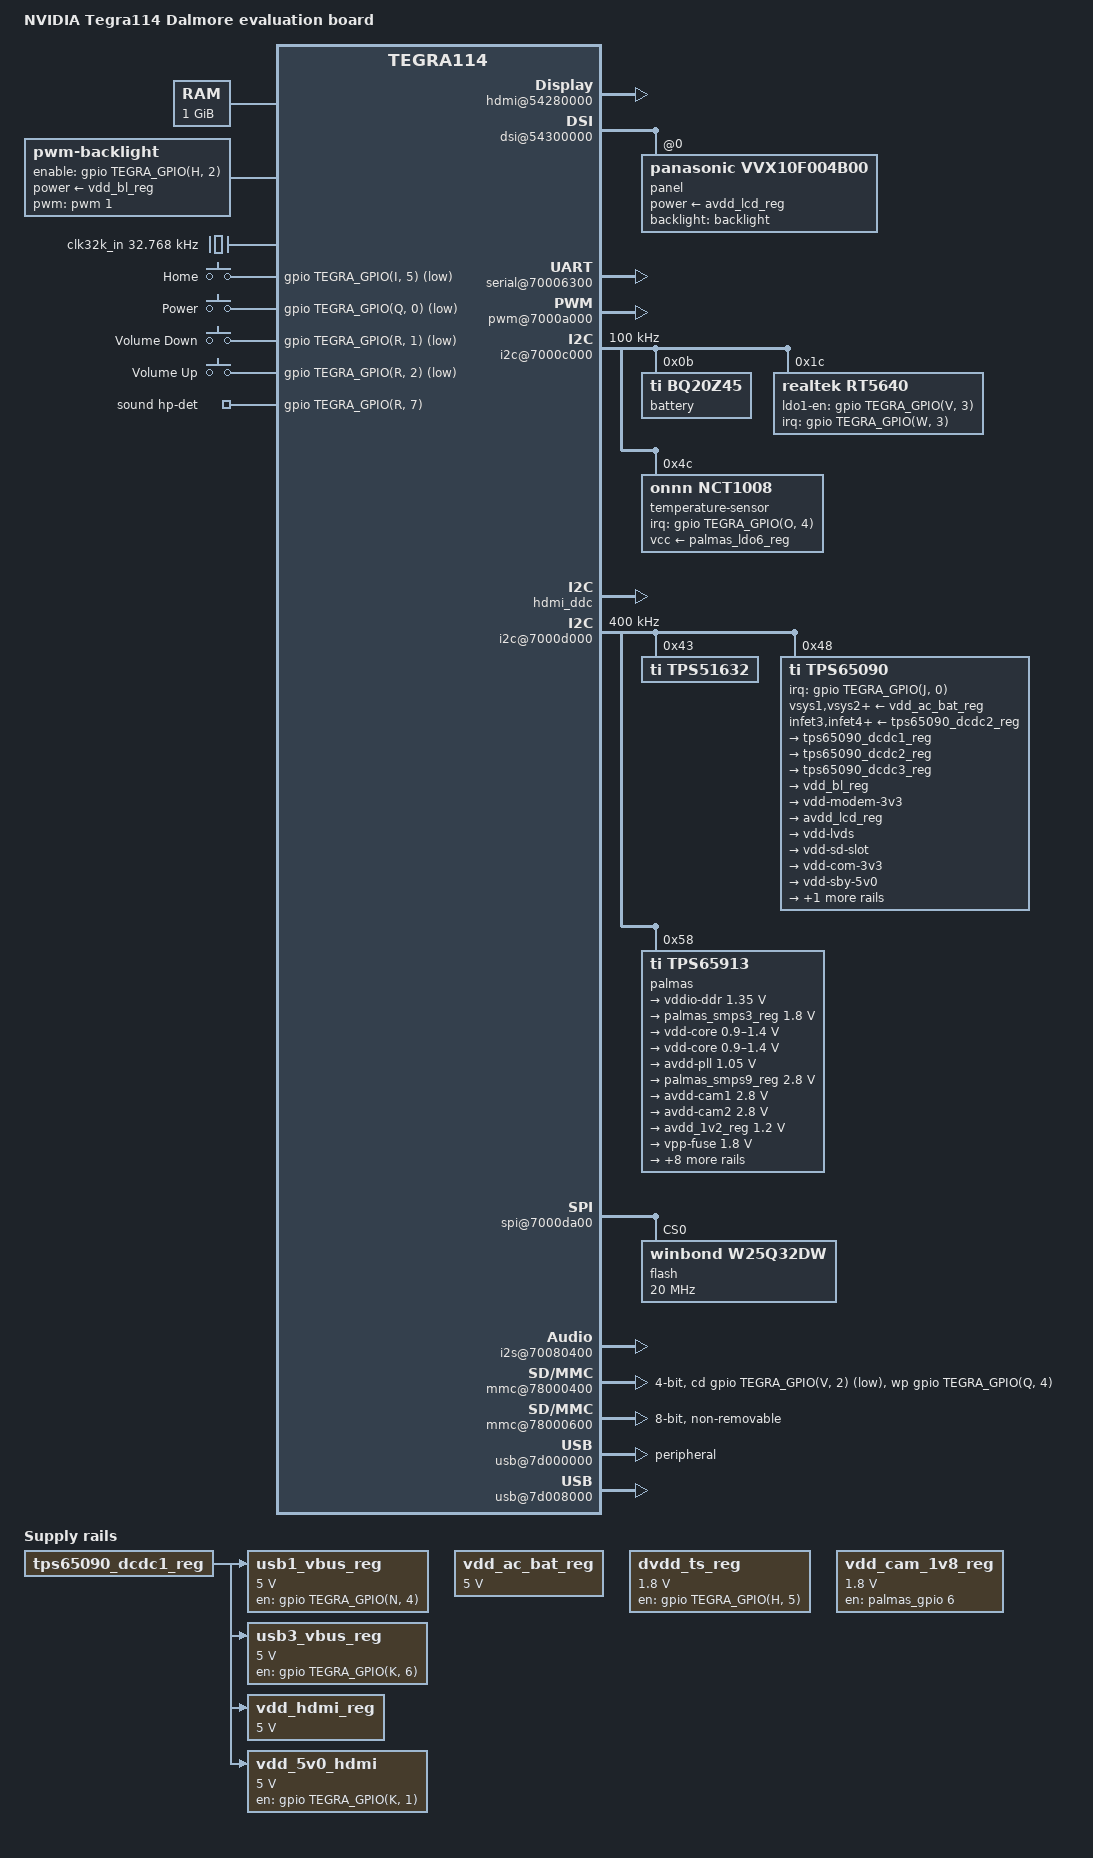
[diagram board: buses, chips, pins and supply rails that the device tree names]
// SPDX-License-Identifier: GPL-2.0
/*
 * This dts file supports Dalmore A04.
 * Other board revisions are not supported
 */

/dts-v1/;

#include <dt-bindings/input/input.h>
#include "tegra114.dtsi"

/ {
	model = "NVIDIA Tegra114 Dalmore evaluation board";
	compatible = "nvidia,dalmore", "nvidia,tegra114";

	aliases {
		rtc0 = "/i2c@7000d000/tps65913@58";
		rtc1 = "/rtc@7000e000";
		serial0 = &uartd;
	};

	chosen {
		stdout-path = "serial0:115200n8";
	};

	memory@80000000 {
		reg = <0x80000000 0x40000000>;
	};

	host1x@50000000 {
		hdmi@54280000 {
			status = "okay";

			hdmi-supply = <&vdd_5v0_hdmi>;
			vdd-supply = <&vdd_hdmi_reg>;
			pll-supply = <&palmas_smps3_reg>;

			nvidia,ddc-i2c-bus = <&hdmi_ddc>;
			nvidia,hpd-gpio =
				<&gpio TEGRA_GPIO(N, 7) GPIO_ACTIVE_HIGH>;
		};

		dsi@54300000 {
			status = "okay";

			avdd-dsi-csi-supply = <&avdd_1v2_reg>;

			panel@0 {
				compatible = "panasonic,vvx10f004b00";
				reg = <0>;

				power-supply = <&avdd_lcd_reg>;
				backlight = <&backlight>;
			};
		};
	};

	pinmux@70000868 {
		pinctrl-names = "default";
		pinctrl-0 = <&state_default>;

		state_default: pinmux {
			clk1_out_pw4 {
				nvidia,pins = "clk1_out_pw4";
				nvidia,function = "extperiph1";
				nvidia,pull = <TEGRA_PIN_PULL_NONE>;
				nvidia,tristate = <TEGRA_PIN_DISABLE>;
				nvidia,enable-input = <TEGRA_PIN_DISABLE>;
			};
			dap1_din_pn1 {
				nvidia,pins = "dap1_din_pn1";
				nvidia,function = "i2s0";
				nvidia,pull = <TEGRA_PIN_PULL_NONE>;
				nvidia,tristate = <TEGRA_PIN_ENABLE>;
				nvidia,enable-input = <TEGRA_PIN_ENABLE>;
			};
			dap1_dout_pn2 {
				nvidia,pins = "dap1_dout_pn2",
						"dap1_fs_pn0",
						"dap1_sclk_pn3";
				nvidia,function = "i2s0";
				nvidia,pull = <TEGRA_PIN_PULL_NONE>;
				nvidia,tristate = <TEGRA_PIN_DISABLE>;
				nvidia,enable-input = <TEGRA_PIN_ENABLE>;
			};
			dap2_din_pa4 {
				nvidia,pins = "dap2_din_pa4";
				nvidia,function = "i2s1";
				nvidia,pull = <TEGRA_PIN_PULL_NONE>;
				nvidia,tristate = <TEGRA_PIN_ENABLE>;
				nvidia,enable-input = <TEGRA_PIN_ENABLE>;
			};
			dap2_dout_pa5 {
				nvidia,pins = "dap2_dout_pa5",
						"dap2_fs_pa2",
						"dap2_sclk_pa3";
				nvidia,function = "i2s1";
				nvidia,pull = <TEGRA_PIN_PULL_NONE>;
				nvidia,tristate = <TEGRA_PIN_DISABLE>;
				nvidia,enable-input = <TEGRA_PIN_ENABLE>;
			};
			dap4_din_pp5 {
				nvidia,pins = "dap4_din_pp5",
						"dap4_dout_pp6",
						"dap4_fs_pp4",
						"dap4_sclk_pp7";
				nvidia,function = "i2s3";
				nvidia,pull = <TEGRA_PIN_PULL_NONE>;
				nvidia,tristate = <TEGRA_PIN_DISABLE>;
				nvidia,enable-input = <TEGRA_PIN_ENABLE>;
			};
			dvfs_pwm_px0 {
				nvidia,pins = "dvfs_pwm_px0",
						"dvfs_clk_px2";
				nvidia,function = "cldvfs";
				nvidia,pull = <TEGRA_PIN_PULL_NONE>;
				nvidia,tristate = <TEGRA_PIN_DISABLE>;
				nvidia,enable-input = <TEGRA_PIN_DISABLE>;
			};
			ulpi_clk_py0 {
				nvidia,pins = "ulpi_clk_py0",
						"ulpi_data0_po1",
						"ulpi_data1_po2",
						"ulpi_data2_po3",
						"ulpi_data3_po4",
						"ulpi_data4_po5",
						"ulpi_data5_po6",
						"ulpi_data6_po7",
						"ulpi_data7_po0";
				nvidia,function = "ulpi";
				nvidia,pull = <TEGRA_PIN_PULL_NONE>;
				nvidia,tristate = <TEGRA_PIN_DISABLE>;
				nvidia,enable-input = <TEGRA_PIN_ENABLE>;
			};
			ulpi_dir_py1 {
				nvidia,pins = "ulpi_dir_py1",
						"ulpi_nxt_py2";
				nvidia,function = "ulpi";
				nvidia,pull = <TEGRA_PIN_PULL_NONE>;
				nvidia,tristate = <TEGRA_PIN_ENABLE>;
				nvidia,enable-input = <TEGRA_PIN_ENABLE>;
			};
			ulpi_stp_py3 {
				nvidia,pins = "ulpi_stp_py3";
				nvidia,function = "ulpi";
				nvidia,pull = <TEGRA_PIN_PULL_NONE>;
				nvidia,tristate = <TEGRA_PIN_DISABLE>;
				nvidia,enable-input = <TEGRA_PIN_DISABLE>;
			};
			cam_i2c_scl_pbb1 {
				nvidia,pins = "cam_i2c_scl_pbb1",
						"cam_i2c_sda_pbb2";
				nvidia,function = "i2c3";
				nvidia,pull = <TEGRA_PIN_PULL_NONE>;
				nvidia,tristate = <TEGRA_PIN_DISABLE>;
				nvidia,enable-input = <TEGRA_PIN_ENABLE>;
				nvidia,lock = <TEGRA_PIN_DISABLE>;
				nvidia,open-drain = <TEGRA_PIN_DISABLE>;
			};
			cam_mclk_pcc0 {
				nvidia,pins = "cam_mclk_pcc0",
						"pbb0";
				nvidia,function = "vi_alt3";
				nvidia,pull = <TEGRA_PIN_PULL_NONE>;
				nvidia,tristate = <TEGRA_PIN_DISABLE>;
				nvidia,enable-input = <TEGRA_PIN_DISABLE>;
				nvidia,lock = <TEGRA_PIN_DISABLE>;
			};
			gen2_i2c_scl_pt5 {
				nvidia,pins = "gen2_i2c_scl_pt5",
						"gen2_i2c_sda_pt6";
				nvidia,function = "i2c2";
				nvidia,pull = <TEGRA_PIN_PULL_NONE>;
				nvidia,tristate = <TEGRA_PIN_DISABLE>;
				nvidia,enable-input = <TEGRA_PIN_ENABLE>;
				nvidia,lock = <TEGRA_PIN_DISABLE>;
				nvidia,open-drain = <TEGRA_PIN_DISABLE>;
			};
			gmi_a16_pj7 {
				nvidia,pins = "gmi_a16_pj7";
				nvidia,function = "uartd";
				nvidia,pull = <TEGRA_PIN_PULL_NONE>;
				nvidia,tristate = <TEGRA_PIN_DISABLE>;
				nvidia,enable-input = <TEGRA_PIN_DISABLE>;
			};
			gmi_a17_pb0 {
				nvidia,pins = "gmi_a17_pb0",
						"gmi_a18_pb1";
				nvidia,function = "uartd";
				nvidia,pull = <TEGRA_PIN_PULL_NONE>;
				nvidia,tristate = <TEGRA_PIN_ENABLE>;
				nvidia,enable-input = <TEGRA_PIN_ENABLE>;
			};
			gmi_a19_pk7 {
				nvidia,pins = "gmi_a19_pk7";
				nvidia,function = "uartd";
				nvidia,pull = <TEGRA_PIN_PULL_NONE>;
				nvidia,tristate = <TEGRA_PIN_DISABLE>;
				nvidia,enable-input = <TEGRA_PIN_DISABLE>;
			};
			gmi_ad5_pg5 {
				nvidia,pins = "gmi_ad5_pg5",
						"gmi_cs6_n_pi3",
						"gmi_wr_n_pi0";
				nvidia,function = "spi4";
				nvidia,pull = <TEGRA_PIN_PULL_NONE>;
				nvidia,tristate = <TEGRA_PIN_DISABLE>;
				nvidia,enable-input = <TEGRA_PIN_ENABLE>;
			};
			gmi_ad6_pg6 {
				nvidia,pins = "gmi_ad6_pg6",
						"gmi_ad7_pg7";
				nvidia,function = "spi4";
				nvidia,pull = <TEGRA_PIN_PULL_UP>;
				nvidia,tristate = <TEGRA_PIN_DISABLE>;
				nvidia,enable-input = <TEGRA_PIN_ENABLE>;
			};
			gmi_ad12_ph4 {
				nvidia,pins = "gmi_ad12_ph4";
				nvidia,function = "rsvd4";
				nvidia,pull = <TEGRA_PIN_PULL_NONE>;
				nvidia,tristate = <TEGRA_PIN_DISABLE>;
				nvidia,enable-input = <TEGRA_PIN_DISABLE>;
			};
			gmi_ad9_ph1 {
				nvidia,pins = "gmi_ad9_ph1";
				nvidia,function = "pwm1";
				nvidia,pull = <TEGRA_PIN_PULL_NONE>;
				nvidia,tristate = <TEGRA_PIN_DISABLE>;
				nvidia,enable-input = <TEGRA_PIN_DISABLE>;
			};
			gmi_cs1_n_pj2 {
				nvidia,pins = "gmi_cs1_n_pj2",
						"gmi_oe_n_pi1";
				nvidia,function = "soc";
				nvidia,pull = <TEGRA_PIN_PULL_NONE>;
				nvidia,tristate = <TEGRA_PIN_ENABLE>;
				nvidia,enable-input = <TEGRA_PIN_ENABLE>;
			};
			clk2_out_pw5 {
				nvidia,pins = "clk2_out_pw5";
				nvidia,function = "extperiph2";
				nvidia,pull = <TEGRA_PIN_PULL_NONE>;
				nvidia,tristate = <TEGRA_PIN_DISABLE>;
				nvidia,enable-input = <TEGRA_PIN_DISABLE>;
			};
			sdmmc1_clk_pz0 {
				nvidia,pins = "sdmmc1_clk_pz0";
				nvidia,function = "sdmmc1";
				nvidia,pull = <TEGRA_PIN_PULL_NONE>;
				nvidia,tristate = <TEGRA_PIN_DISABLE>;
				nvidia,enable-input = <TEGRA_PIN_ENABLE>;
			};
			sdmmc1_cmd_pz1 {
				nvidia,pins = "sdmmc1_cmd_pz1",
						"sdmmc1_dat0_py7",
						"sdmmc1_dat1_py6",
						"sdmmc1_dat2_py5",
						"sdmmc1_dat3_py4";
				nvidia,function = "sdmmc1";
				nvidia,pull = <TEGRA_PIN_PULL_UP>;
				nvidia,tristate = <TEGRA_PIN_DISABLE>;
				nvidia,enable-input = <TEGRA_PIN_ENABLE>;
			};
			sdmmc1_wp_n_pv3 {
				nvidia,pins = "sdmmc1_wp_n_pv3";
				nvidia,function = "spi4";
				nvidia,pull = <TEGRA_PIN_PULL_UP>;
				nvidia,tristate = <TEGRA_PIN_DISABLE>;
				nvidia,enable-input = <TEGRA_PIN_DISABLE>;
			};
			sdmmc3_clk_pa6 {
				nvidia,pins = "sdmmc3_clk_pa6";
				nvidia,function = "sdmmc3";
				nvidia,pull = <TEGRA_PIN_PULL_NONE>;
				nvidia,tristate = <TEGRA_PIN_DISABLE>;
				nvidia,enable-input = <TEGRA_PIN_ENABLE>;
			};
			sdmmc3_cmd_pa7 {
				nvidia,pins = "sdmmc3_cmd_pa7",
						"sdmmc3_dat0_pb7",
						"sdmmc3_dat1_pb6",
						"sdmmc3_dat2_pb5",
						"sdmmc3_dat3_pb4",
						"kb_col4_pq4",
						"sdmmc3_clk_lb_out_pee4",
						"sdmmc3_clk_lb_in_pee5";
				nvidia,function = "sdmmc3";
				nvidia,pull = <TEGRA_PIN_PULL_UP>;
				nvidia,tristate = <TEGRA_PIN_DISABLE>;
				nvidia,enable-input = <TEGRA_PIN_ENABLE>;
			};
			sdmmc4_clk_pcc4 {
				nvidia,pins = "sdmmc4_clk_pcc4";
				nvidia,function = "sdmmc4";
				nvidia,pull = <TEGRA_PIN_PULL_NONE>;
				nvidia,tristate = <TEGRA_PIN_DISABLE>;
				nvidia,enable-input = <TEGRA_PIN_ENABLE>;
			};
			sdmmc4_cmd_pt7 {
				nvidia,pins = "sdmmc4_cmd_pt7",
						"sdmmc4_dat0_paa0",
						"sdmmc4_dat1_paa1",
						"sdmmc4_dat2_paa2",
						"sdmmc4_dat3_paa3",
						"sdmmc4_dat4_paa4",
						"sdmmc4_dat5_paa5",
						"sdmmc4_dat6_paa6",
						"sdmmc4_dat7_paa7";
				nvidia,function = "sdmmc4";
				nvidia,pull = <TEGRA_PIN_PULL_UP>;
				nvidia,tristate = <TEGRA_PIN_DISABLE>;
				nvidia,enable-input = <TEGRA_PIN_ENABLE>;
			};
			clk_32k_out_pa0 {
				nvidia,pins = "clk_32k_out_pa0";
				nvidia,function = "blink";
				nvidia,pull = <TEGRA_PIN_PULL_NONE>;
				nvidia,tristate = <TEGRA_PIN_DISABLE>;
				nvidia,enable-input = <TEGRA_PIN_DISABLE>;
			};
			kb_col0_pq0 {
				nvidia,pins = "kb_col0_pq0",
						"kb_col1_pq1",
						"kb_col2_pq2",
						"kb_row0_pr0",
						"kb_row1_pr1",
						"kb_row2_pr2";
				nvidia,function = "kbc";
				nvidia,pull = <TEGRA_PIN_PULL_UP>;
				nvidia,tristate = <TEGRA_PIN_DISABLE>;
				nvidia,enable-input = <TEGRA_PIN_ENABLE>;
			};
			dap3_din_pp1 {
				nvidia,pins = "dap3_din_pp1",
						"dap3_sclk_pp3";
				nvidia,function = "displayb";
				nvidia,pull = <TEGRA_PIN_PULL_NONE>;
				nvidia,tristate = <TEGRA_PIN_ENABLE>;
				nvidia,enable-input = <TEGRA_PIN_DISABLE>;
			};
			pv0 {
				nvidia,pins = "pv0";
				nvidia,function = "rsvd4";
				nvidia,pull = <TEGRA_PIN_PULL_NONE>;
				nvidia,tristate = <TEGRA_PIN_ENABLE>;
				nvidia,enable-input = <TEGRA_PIN_DISABLE>;
			};
			kb_row7_pr7 {
				nvidia,pins = "kb_row7_pr7";
				nvidia,function = "rsvd2";
				nvidia,pull = <TEGRA_PIN_PULL_UP>;
				nvidia,tristate = <TEGRA_PIN_DISABLE>;
				nvidia,enable-input = <TEGRA_PIN_ENABLE>;
			};
			kb_row10_ps2 {
				nvidia,pins = "kb_row10_ps2";
				nvidia,function = "uarta";
				nvidia,pull = <TEGRA_PIN_PULL_NONE>;
				nvidia,tristate = <TEGRA_PIN_ENABLE>;
				nvidia,enable-input = <TEGRA_PIN_ENABLE>;
			};
			kb_row9_ps1 {
				nvidia,pins = "kb_row9_ps1";
				nvidia,function = "uarta";
				nvidia,pull = <TEGRA_PIN_PULL_NONE>;
				nvidia,tristate = <TEGRA_PIN_DISABLE>;
				nvidia,enable-input = <TEGRA_PIN_DISABLE>;
			};
			pwr_i2c_scl_pz6 {
				nvidia,pins = "pwr_i2c_scl_pz6",
						"pwr_i2c_sda_pz7";
				nvidia,function = "i2cpwr";
				nvidia,pull = <TEGRA_PIN_PULL_NONE>;
				nvidia,tristate = <TEGRA_PIN_DISABLE>;
				nvidia,enable-input = <TEGRA_PIN_ENABLE>;
				nvidia,lock = <TEGRA_PIN_DISABLE>;
				nvidia,open-drain = <TEGRA_PIN_DISABLE>;
			};
			sys_clk_req_pz5 {
				nvidia,pins = "sys_clk_req_pz5";
				nvidia,function = "sysclk";
				nvidia,pull = <TEGRA_PIN_PULL_NONE>;
				nvidia,tristate = <TEGRA_PIN_DISABLE>;
				nvidia,enable-input = <TEGRA_PIN_DISABLE>;
			};
			core_pwr_req {
				nvidia,pins = "core_pwr_req";
				nvidia,function = "pwron";
				nvidia,pull = <TEGRA_PIN_PULL_NONE>;
				nvidia,tristate = <TEGRA_PIN_DISABLE>;
				nvidia,enable-input = <TEGRA_PIN_DISABLE>;
			};
			cpu_pwr_req {
				nvidia,pins = "cpu_pwr_req";
				nvidia,function = "cpu";
				nvidia,pull = <TEGRA_PIN_PULL_NONE>;
				nvidia,tristate = <TEGRA_PIN_DISABLE>;
				nvidia,enable-input = <TEGRA_PIN_DISABLE>;
			};
			pwr_int_n {
				nvidia,pins = "pwr_int_n";
				nvidia,function = "pmi";
				nvidia,pull = <TEGRA_PIN_PULL_NONE>;
				nvidia,tristate = <TEGRA_PIN_ENABLE>;
				nvidia,enable-input = <TEGRA_PIN_ENABLE>;
			};
			reset_out_n {
				nvidia,pins = "reset_out_n";
				nvidia,function = "reset_out_n";
				nvidia,pull = <TEGRA_PIN_PULL_NONE>;
				nvidia,tristate = <TEGRA_PIN_DISABLE>;
				nvidia,enable-input = <TEGRA_PIN_DISABLE>;
			};
			clk3_out_pee0 {
				nvidia,pins = "clk3_out_pee0";
				nvidia,function = "extperiph3";
				nvidia,pull = <TEGRA_PIN_PULL_NONE>;
				nvidia,tristate = <TEGRA_PIN_DISABLE>;
				nvidia,enable-input = <TEGRA_PIN_DISABLE>;
			};
			gen1_i2c_scl_pc4 {
				nvidia,pins = "gen1_i2c_scl_pc4",
						"gen1_i2c_sda_pc5";
				nvidia,function = "i2c1";
				nvidia,pull = <TEGRA_PIN_PULL_NONE>;
				nvidia,tristate = <TEGRA_PIN_DISABLE>;
				nvidia,enable-input = <TEGRA_PIN_ENABLE>;
				nvidia,lock = <TEGRA_PIN_DISABLE>;
				nvidia,open-drain = <TEGRA_PIN_DISABLE>;
			};
			uart2_cts_n_pj5 {
				nvidia,pins = "uart2_cts_n_pj5";
				nvidia,function = "uartb";
				nvidia,pull = <TEGRA_PIN_PULL_NONE>;
				nvidia,tristate = <TEGRA_PIN_ENABLE>;
				nvidia,enable-input = <TEGRA_PIN_ENABLE>;
			};
			uart2_rts_n_pj6 {
				nvidia,pins = "uart2_rts_n_pj6";
				nvidia,function = "uartb";
				nvidia,pull = <TEGRA_PIN_PULL_NONE>;
				nvidia,tristate = <TEGRA_PIN_DISABLE>;
				nvidia,enable-input = <TEGRA_PIN_DISABLE>;
			};
			uart2_rxd_pc3 {
				nvidia,pins = "uart2_rxd_pc3";
				nvidia,function = "irda";
				nvidia,pull = <TEGRA_PIN_PULL_NONE>;
				nvidia,tristate = <TEGRA_PIN_ENABLE>;
				nvidia,enable-input = <TEGRA_PIN_ENABLE>;
			};
			uart2_txd_pc2 {
				nvidia,pins = "uart2_txd_pc2";
				nvidia,function = "irda";
				nvidia,pull = <TEGRA_PIN_PULL_NONE>;
				nvidia,tristate = <TEGRA_PIN_DISABLE>;
				nvidia,enable-input = <TEGRA_PIN_DISABLE>;
			};
			uart3_cts_n_pa1 {
				nvidia,pins = "uart3_cts_n_pa1",
						"uart3_rxd_pw7";
				nvidia,function = "uartc";
				nvidia,pull = <TEGRA_PIN_PULL_NONE>;
				nvidia,tristate = <TEGRA_PIN_ENABLE>;
				nvidia,enable-input = <TEGRA_PIN_ENABLE>;
			};
			uart3_rts_n_pc0 {
				nvidia,pins = "uart3_rts_n_pc0",
						"uart3_txd_pw6";
				nvidia,function = "uartc";
				nvidia,pull = <TEGRA_PIN_PULL_NONE>;
				nvidia,tristate = <TEGRA_PIN_DISABLE>;
				nvidia,enable-input = <TEGRA_PIN_DISABLE>;
			};
			owr {
				nvidia,pins = "owr";
				nvidia,function = "owr";
				nvidia,pull = <TEGRA_PIN_PULL_NONE>;
				nvidia,tristate = <TEGRA_PIN_DISABLE>;
				nvidia,enable-input = <TEGRA_PIN_ENABLE>;
			};
			hdmi_cec_pee3 {
				nvidia,pins = "hdmi_cec_pee3";
				nvidia,function = "cec";
				nvidia,pull = <TEGRA_PIN_PULL_NONE>;
				nvidia,tristate = <TEGRA_PIN_DISABLE>;
				nvidia,enable-input = <TEGRA_PIN_ENABLE>;
				nvidia,lock = <TEGRA_PIN_DISABLE>;
				nvidia,open-drain = <TEGRA_PIN_DISABLE>;
			};
			ddc_scl_pv4 {
				nvidia,pins = "ddc_scl_pv4",
						"ddc_sda_pv5";
				nvidia,function = "i2c4";
				nvidia,pull = <TEGRA_PIN_PULL_NONE>;
				nvidia,tristate = <TEGRA_PIN_DISABLE>;
				nvidia,enable-input = <TEGRA_PIN_ENABLE>;
				nvidia,lock = <TEGRA_PIN_DISABLE>;
				nvidia,rcv-sel = <TEGRA_PIN_ENABLE>;
			};
			spdif_in_pk6 {
				nvidia,pins = "spdif_in_pk6";
				nvidia,function = "usb";
				nvidia,pull = <TEGRA_PIN_PULL_UP>;
				nvidia,tristate = <TEGRA_PIN_DISABLE>;
				nvidia,enable-input = <TEGRA_PIN_ENABLE>;
				nvidia,lock = <TEGRA_PIN_DISABLE>;
			};
			usb_vbus_en0_pn4 {
				nvidia,pins = "usb_vbus_en0_pn4";
				nvidia,function = "usb";
				nvidia,pull = <TEGRA_PIN_PULL_UP>;
				nvidia,tristate = <TEGRA_PIN_DISABLE>;
				nvidia,enable-input = <TEGRA_PIN_ENABLE>;
				nvidia,lock = <TEGRA_PIN_DISABLE>;
				nvidia,open-drain = <TEGRA_PIN_ENABLE>;
			};
			gpio_x6_aud_px6 {
				nvidia,pins = "gpio_x6_aud_px6";
				nvidia,function = "spi6";
				nvidia,pull = <TEGRA_PIN_PULL_UP>;
				nvidia,tristate = <TEGRA_PIN_ENABLE>;
				nvidia,enable-input = <TEGRA_PIN_ENABLE>;
			};
			gpio_x4_aud_px4 {
				nvidia,pins = "gpio_x4_aud_px4",
						"gpio_x7_aud_px7";
				nvidia,function = "rsvd1";
				nvidia,pull = <TEGRA_PIN_PULL_DOWN>;
				nvidia,tristate = <TEGRA_PIN_DISABLE>;
				nvidia,enable-input = <TEGRA_PIN_DISABLE>;
			};
			gpio_x5_aud_px5 {
				nvidia,pins = "gpio_x5_aud_px5";
				nvidia,function = "rsvd1";
				nvidia,pull = <TEGRA_PIN_PULL_UP>;
				nvidia,tristate = <TEGRA_PIN_DISABLE>;
				nvidia,enable-input = <TEGRA_PIN_ENABLE>;
			};
			gpio_w2_aud_pw2 {
				nvidia,pins = "gpio_w2_aud_pw2";
				nvidia,function = "rsvd2";
				nvidia,pull = <TEGRA_PIN_PULL_UP>;
				nvidia,tristate = <TEGRA_PIN_DISABLE>;
				nvidia,enable-input = <TEGRA_PIN_ENABLE>;
			};
			gpio_w3_aud_pw3 {
				nvidia,pins = "gpio_w3_aud_pw3";
				nvidia,function = "spi6";
				nvidia,pull = <TEGRA_PIN_PULL_UP>;
				nvidia,tristate = <TEGRA_PIN_DISABLE>;
				nvidia,enable-input = <TEGRA_PIN_ENABLE>;
			};
			gpio_x1_aud_px1 {
				nvidia,pins = "gpio_x1_aud_px1";
				nvidia,function = "rsvd4";
				nvidia,pull = <TEGRA_PIN_PULL_DOWN>;
				nvidia,tristate = <TEGRA_PIN_DISABLE>;
				nvidia,enable-input = <TEGRA_PIN_ENABLE>;
			};
			gpio_x3_aud_px3 {
				nvidia,pins = "gpio_x3_aud_px3";
				nvidia,function = "rsvd4";
				nvidia,pull = <TEGRA_PIN_PULL_UP>;
				nvidia,tristate = <TEGRA_PIN_DISABLE>;
				nvidia,enable-input = <TEGRA_PIN_ENABLE>;
			};
			dap3_fs_pp0 {
				nvidia,pins = "dap3_fs_pp0";
				nvidia,function = "i2s2";
				nvidia,pull = <TEGRA_PIN_PULL_DOWN>;
				nvidia,tristate = <TEGRA_PIN_DISABLE>;
				nvidia,enable-input = <TEGRA_PIN_DISABLE>;
			};
			dap3_dout_pp2 {
				nvidia,pins = "dap3_dout_pp2";
				nvidia,function = "i2s2";
				nvidia,pull = <TEGRA_PIN_PULL_DOWN>;
				nvidia,tristate = <TEGRA_PIN_DISABLE>;
				nvidia,enable-input = <TEGRA_PIN_DISABLE>;
			};
			pv1 {
				nvidia,pins = "pv1";
				nvidia,function = "rsvd1";
				nvidia,pull = <TEGRA_PIN_PULL_NONE>;
				nvidia,tristate = <TEGRA_PIN_DISABLE>;
				nvidia,enable-input = <TEGRA_PIN_ENABLE>;
			};
			pbb3 {
				nvidia,pins = "pbb3",
						"pbb5",
						"pbb6",
						"pbb7";
				nvidia,function = "rsvd4";
				nvidia,pull = <TEGRA_PIN_PULL_DOWN>;
				nvidia,tristate = <TEGRA_PIN_DISABLE>;
				nvidia,enable-input = <TEGRA_PIN_DISABLE>;
			};
			pcc1 {
				nvidia,pins = "pcc1",
						"pcc2";
				nvidia,function = "rsvd4";
				nvidia,pull = <TEGRA_PIN_PULL_DOWN>;
				nvidia,tristate = <TEGRA_PIN_DISABLE>;
				nvidia,enable-input = <TEGRA_PIN_ENABLE>;
			};
			gmi_ad0_pg0 {
				nvidia,pins = "gmi_ad0_pg0",
						"gmi_ad1_pg1";
				nvidia,function = "gmi";
				nvidia,pull = <TEGRA_PIN_PULL_NONE>;
				nvidia,tristate = <TEGRA_PIN_DISABLE>;
				nvidia,enable-input = <TEGRA_PIN_DISABLE>;
			};
			gmi_ad10_ph2 {
				nvidia,pins = "gmi_ad10_ph2",
						"gmi_ad11_ph3",
						"gmi_ad13_ph5",
						"gmi_ad8_ph0",
						"gmi_clk_pk1";
				nvidia,function = "gmi";
				nvidia,pull = <TEGRA_PIN_PULL_DOWN>;
				nvidia,tristate = <TEGRA_PIN_DISABLE>;
				nvidia,enable-input = <TEGRA_PIN_DISABLE>;
			};
			gmi_ad2_pg2 {
				nvidia,pins = "gmi_ad2_pg2",
						"gmi_ad3_pg3";
				nvidia,function = "gmi";
				nvidia,pull = <TEGRA_PIN_PULL_NONE>;
				nvidia,tristate = <TEGRA_PIN_DISABLE>;
				nvidia,enable-input = <TEGRA_PIN_ENABLE>;
			};
			gmi_adv_n_pk0 {
				nvidia,pins = "gmi_adv_n_pk0",
						"gmi_cs0_n_pj0",
						"gmi_cs2_n_pk3",
						"gmi_cs4_n_pk2",
						"gmi_cs7_n_pi6",
						"gmi_dqs_p_pj3",
						"gmi_iordy_pi5",
						"gmi_wp_n_pc7";
				nvidia,function = "gmi";
				nvidia,pull = <TEGRA_PIN_PULL_UP>;
				nvidia,tristate = <TEGRA_PIN_DISABLE>;
				nvidia,enable-input = <TEGRA_PIN_ENABLE>;
			};
			gmi_cs3_n_pk4 {
				nvidia,pins = "gmi_cs3_n_pk4";
				nvidia,function = "gmi";
				nvidia,pull = <TEGRA_PIN_PULL_UP>;
				nvidia,tristate = <TEGRA_PIN_DISABLE>;
				nvidia,enable-input = <TEGRA_PIN_DISABLE>;
			};
			clk2_req_pcc5 {
				nvidia,pins = "clk2_req_pcc5";
				nvidia,function = "rsvd4";
				nvidia,pull = <TEGRA_PIN_PULL_NONE>;
				nvidia,tristate = <TEGRA_PIN_DISABLE>;
				nvidia,enable-input = <TEGRA_PIN_DISABLE>;
			};
			kb_col3_pq3 {
				nvidia,pins = "kb_col3_pq3",
						"kb_col6_pq6",
						"kb_col7_pq7";
				nvidia,function = "kbc";
				nvidia,pull = <TEGRA_PIN_PULL_UP>;
				nvidia,tristate = <TEGRA_PIN_DISABLE>;
				nvidia,enable-input = <TEGRA_PIN_DISABLE>;
			};
			kb_col5_pq5 {
				nvidia,pins = "kb_col5_pq5";
				nvidia,function = "kbc";
				nvidia,pull = <TEGRA_PIN_PULL_UP>;
				nvidia,tristate = <TEGRA_PIN_DISABLE>;
				nvidia,enable-input = <TEGRA_PIN_ENABLE>;
			};
			kb_row3_pr3 {
				nvidia,pins = "kb_row3_pr3",
						"kb_row4_pr4",
						"kb_row6_pr6",
						"kb_row8_ps0";
				nvidia,function = "kbc";
				nvidia,pull = <TEGRA_PIN_PULL_DOWN>;
				nvidia,tristate = <TEGRA_PIN_DISABLE>;
				nvidia,enable-input = <TEGRA_PIN_ENABLE>;
			};
			clk3_req_pee1 {
				nvidia,pins = "clk3_req_pee1";
				nvidia,function = "rsvd4";
				nvidia,pull = <TEGRA_PIN_PULL_NONE>;
				nvidia,tristate = <TEGRA_PIN_DISABLE>;
				nvidia,enable-input = <TEGRA_PIN_DISABLE>;
			};
			pu4 {
				nvidia,pins = "pu4";
				nvidia,function = "displayb";
				nvidia,pull = <TEGRA_PIN_PULL_NONE>;
				nvidia,tristate = <TEGRA_PIN_DISABLE>;
				nvidia,enable-input = <TEGRA_PIN_DISABLE>;
			};
			pu5 {
				nvidia,pins = "pu5",
						"pu6";
				nvidia,function = "displayb";
				nvidia,pull = <TEGRA_PIN_PULL_NONE>;
				nvidia,tristate = <TEGRA_PIN_DISABLE>;
				nvidia,enable-input = <TEGRA_PIN_ENABLE>;
			};
			hdmi_int_pn7 {
				nvidia,pins = "hdmi_int_pn7";
				nvidia,function = "rsvd1";
				nvidia,pull = <TEGRA_PIN_PULL_DOWN>;
				nvidia,tristate = <TEGRA_PIN_DISABLE>;
				nvidia,enable-input = <TEGRA_PIN_ENABLE>;
			};
			clk1_req_pee2 {
				nvidia,pins = "clk1_req_pee2",
						"usb_vbus_en1_pn5";
				nvidia,function = "rsvd4";
				nvidia,pull = <TEGRA_PIN_PULL_DOWN>;
				nvidia,tristate = <TEGRA_PIN_ENABLE>;
				nvidia,enable-input = <TEGRA_PIN_DISABLE>;
			};

			drive_sdio1 {
				nvidia,pins = "drive_sdio1";
				nvidia,high-speed-mode = <TEGRA_PIN_ENABLE>;
				nvidia,schmitt = <TEGRA_PIN_DISABLE>;
				nvidia,pull-down-strength = <36>;
				nvidia,pull-up-strength = <20>;
				nvidia,slew-rate-rising = <TEGRA_PIN_SLEW_RATE_SLOW>;
				nvidia,slew-rate-falling = <TEGRA_PIN_SLEW_RATE_SLOW>;
			};
			drive_sdio3 {
				nvidia,pins = "drive_sdio3";
				nvidia,high-speed-mode = <TEGRA_PIN_ENABLE>;
				nvidia,schmitt = <TEGRA_PIN_DISABLE>;
				nvidia,pull-down-strength = <22>;
				nvidia,pull-up-strength = <36>;
				nvidia,slew-rate-rising = <TEGRA_PIN_SLEW_RATE_FASTEST>;
				nvidia,slew-rate-falling = <TEGRA_PIN_SLEW_RATE_FASTEST>;
			};
			drive_gma {
				nvidia,pins = "drive_gma";
				nvidia,high-speed-mode = <TEGRA_PIN_ENABLE>;
				nvidia,schmitt = <TEGRA_PIN_DISABLE>;
				nvidia,pull-down-strength = <2>;
				nvidia,pull-up-strength = <1>;
				nvidia,slew-rate-rising = <TEGRA_PIN_SLEW_RATE_FASTEST>;
				nvidia,slew-rate-falling = <TEGRA_PIN_SLEW_RATE_FASTEST>;
			};
		};
	};

	serial@70006300 {
		/delete-property/ dmas;
		/delete-property/ dma-names;
		status = "okay";
	};

	pwm@7000a000 {
		status = "okay";
	};

	i2c@7000c000 {
		status = "okay";
		clock-frequency = <100000>;

		battery: smart-battery@b {
			compatible = "ti,bq20z45", "sbs,sbs-battery";
			reg = <0xb>;
			sbs,i2c-retry-count = <2>;
			sbs,poll-retry-count = <100>;
			power-supplies = <&charger>;
		};

		rt5640: rt5640@1c {
			compatible = "realtek,rt5640";
			reg = <0x1c>;
			interrupt-parent = <&gpio>;
			interrupts = <TEGRA_GPIO(W, 3) IRQ_TYPE_EDGE_FALLING>;
			realtek,ldo1-en-gpios =
				<&gpio TEGRA_GPIO(V, 3) GPIO_ACTIVE_HIGH>;
		};

		temperature-sensor@4c {
			compatible = "onnn,nct1008";
			reg = <0x4c>;
			vcc-supply = <&palmas_ldo6_reg>;
			interrupt-parent = <&gpio>;
			interrupts = <TEGRA_GPIO(O, 4) IRQ_TYPE_EDGE_FALLING>;
		};
	};

	hdmi_ddc: i2c@7000c700 {
		status = "okay";
	};

	i2c@7000d000 {
		status = "okay";
		clock-frequency = <400000>;

		tps51632@43 {
			compatible = "ti,tps51632";
			reg = <0x43>;
			regulator-name = "vdd-cpu";
			regulator-min-microvolt = <500000>;
			regulator-max-microvolt = <1520000>;
			regulator-boot-on;
			regulator-always-on;
		};

		tps65090@48 {
			compatible = "ti,tps65090";
			reg = <0x48>;
			interrupt-parent = <&gpio>;
			interrupts = <TEGRA_GPIO(J, 0) IRQ_TYPE_LEVEL_HIGH>;

			vsys1-supply = <&vdd_ac_bat_reg>;
			vsys2-supply = <&vdd_ac_bat_reg>;
			vsys3-supply = <&vdd_ac_bat_reg>;
			infet1-supply = <&vdd_ac_bat_reg>;
			infet2-supply = <&vdd_ac_bat_reg>;
			infet3-supply = <&tps65090_dcdc2_reg>;
			infet4-supply = <&tps65090_dcdc2_reg>;
			infet5-supply = <&tps65090_dcdc2_reg>;
			infet6-supply = <&tps65090_dcdc2_reg>;
			infet7-supply = <&tps65090_dcdc2_reg>;
			vsys-l1-supply = <&vdd_ac_bat_reg>;
			vsys-l2-supply = <&vdd_ac_bat_reg>;

			charger: charger {
				compatible = "ti,tps65090-charger";
				ti,enable-low-current-chrg;
			};

			regulators {
				tps65090_dcdc1_reg: dcdc1 {
					regulator-name = "vdd-sys-5v0";
					regulator-always-on;
					regulator-boot-on;
				};

				tps65090_dcdc2_reg: dcdc2 {
					regulator-name = "vdd-sys-3v3";
					regulator-always-on;
					regulator-boot-on;
				};

				tps65090_dcdc3_reg: dcdc3 {
					regulator-name = "vdd-ao";
					regulator-always-on;
					regulator-boot-on;
				};

				vdd_bl_reg: fet1 {
					regulator-name = "vdd-lcd-bl";
				};

				fet3 {
					regulator-name = "vdd-modem-3v3";
				};

				avdd_lcd_reg: fet4 {
					regulator-name = "avdd-lcd";
				};

				fet5 {
					regulator-name = "vdd-lvds";
				};

				fet6 {
					regulator-name = "vdd-sd-slot";
					regulator-always-on;
					regulator-boot-on;
				};

				fet7 {
					regulator-name = "vdd-com-3v3";
				};

				ldo1 {
					regulator-name = "vdd-sby-5v0";
					regulator-always-on;
					regulator-boot-on;
				};

				ldo2 {
					regulator-name = "vdd-sby-3v3";
					regulator-always-on;
					regulator-boot-on;
				};
			};
		};

		palmas: tps65913@58 {
			compatible = "ti,tps65913", "ti,palmas";
			reg = <0x58>;
			interrupts = <0 86 IRQ_TYPE_LEVEL_HIGH>;

			#interrupt-cells = <2>;
			interrupt-controller;

			ti,system-power-controller;

			palmas_gpio: gpio {
				compatible = "ti,palmas-gpio";
				gpio-controller;
				#gpio-cells = <2>;
			};

			pinmux {
				compatible = "ti,tps65913-pinctrl";
				pinctrl-names = "default";
				pinctrl-0 = <&palmas_default>;

				palmas_default: pinmux {
					pin_gpio6 {
						pins = "gpio6";
						function = "gpio";
					};
				};
			};

			pmic {
				compatible = "ti,tps65913-pmic", "ti,palmas-pmic";
				smps1-in-supply = <&tps65090_dcdc3_reg>;
				smps3-in-supply = <&tps65090_dcdc3_reg>;
				smps4-in-supply = <&tps65090_dcdc2_reg>;
				smps7-in-supply = <&tps65090_dcdc2_reg>;
				smps8-in-supply = <&tps65090_dcdc2_reg>;
				smps9-in-supply = <&tps65090_dcdc2_reg>;
				ldo1-in-supply = <&tps65090_dcdc2_reg>;
				ldo2-in-supply = <&tps65090_dcdc2_reg>;
				ldo3-in-supply = <&palmas_smps3_reg>;
				ldo4-in-supply = <&tps65090_dcdc2_reg>;
				ldo5-in-supply = <&vdd_ac_bat_reg>;
				ldo6-in-supply = <&tps65090_dcdc2_reg>;
				ldo7-in-supply = <&tps65090_dcdc2_reg>;
				ldo8-in-supply = <&tps65090_dcdc3_reg>;
				ldo9-in-supply = <&palmas_smps9_reg>;
				ldoln-in-supply = <&tps65090_dcdc1_reg>;
				ldousb-in-supply = <&tps65090_dcdc1_reg>;

				regulators {
					smps12 {
						regulator-name = "vddio-ddr";
						regulator-min-microvolt = <1350000>;
						regulator-max-microvolt = <1350000>;
						regulator-always-on;
						regulator-boot-on;
					};

					palmas_smps3_reg: smps3 {
						regulator-name = "vddio-1v8";
						regulator-min-microvolt = <1800000>;
						regulator-max-microvolt = <1800000>;
						regulator-always-on;
						regulator-boot-on;
					};

					smps45 {
						regulator-name = "vdd-core";
						regulator-min-microvolt = <900000>;
						regulator-max-microvolt = <1400000>;
						regulator-always-on;
						regulator-boot-on;
					};

					smps457 {
						regulator-name = "vdd-core";
						regulator-min-microvolt = <900000>;
						regulator-max-microvolt = <1400000>;
						regulator-always-on;
						regulator-boot-on;
					};

					smps8 {
						regulator-name = "avdd-pll";
						regulator-min-microvolt = <1050000>;
						regulator-max-microvolt = <1050000>;
						regulator-always-on;
						regulator-boot-on;
					};

					palmas_smps9_reg: smps9 {
						regulator-name = "sdhci-vdd-sd-slot";
						regulator-min-microvolt = <2800000>;
						regulator-max-microvolt = <2800000>;
						regulator-always-on;
					};

					ldo1 {
						regulator-name = "avdd-cam1";
						regulator-min-microvolt = <2800000>;
						regulator-max-microvolt = <2800000>;
					};

					ldo2 {
						regulator-name = "avdd-cam2";
						regulator-min-microvolt = <2800000>;
						regulator-max-microvolt = <2800000>;
					};

					avdd_1v2_reg: ldo3 {
						regulator-name = "avdd-dsi-csi";
						regulator-min-microvolt = <1200000>;
						regulator-max-microvolt = <1200000>;
					};

					ldo4 {
						regulator-name = "vpp-fuse";
						regulator-min-microvolt = <1800000>;
						regulator-max-microvolt = <1800000>;
					};

					palmas_ldo6_reg: ldo6 {
						regulator-name = "vdd-sensor-2v85";
						regulator-min-microvolt = <2850000>;
						regulator-max-microvolt = <2850000>;
					};

					ldo7 {
						regulator-name = "vdd-af-cam1";
						regulator-min-microvolt = <2800000>;
						regulator-max-microvolt = <2800000>;
					};

					ldo8 {
						regulator-name = "vdd-rtc";
						regulator-min-microvolt = <900000>;
						regulator-max-microvolt = <900000>;
						regulator-always-on;
						regulator-boot-on;
						ti,enable-ldo8-tracking;
					};

					ldo9 {
						regulator-name = "vddio-sdmmc-2";
						regulator-min-microvolt = <1800000>;
						regulator-max-microvolt = <3300000>;
						regulator-always-on;
						regulator-boot-on;
					};

					ldoln {
						regulator-name = "hvdd-usb";
						regulator-min-microvolt = <3300000>;
						regulator-max-microvolt = <3300000>;
					};

					ldousb {
						regulator-name = "avdd-usb";
						regulator-min-microvolt = <3300000>;
						regulator-max-microvolt = <3300000>;
						regulator-always-on;
						regulator-boot-on;
					};

					regen1 {
						regulator-name = "rail-3v3";
						regulator-max-microvolt = <3300000>;
						regulator-always-on;
						regulator-boot-on;
					};

					regen2 {
						regulator-name = "rail-5v0";
						regulator-max-microvolt = <5000000>;
						regulator-always-on;
						regulator-boot-on;
					};
				};
			};

			rtc {
				compatible = "ti,palmas-rtc";
				interrupt-parent = <&palmas>;
				interrupts = <8 0>;
			};
		};
	};

	spi@7000da00 {
		status = "okay";
		spi-max-frequency = <25000000>;

		flash@0 {
			compatible = "winbond,w25q32dw", "jedec,spi-nor";
			reg = <0>;
			spi-max-frequency = <20000000>;
		};
	};

	pmc@7000e400 {
		nvidia,invert-interrupt;
		nvidia,suspend-mode = <1>;
		nvidia,cpu-pwr-good-time = <500>;
		nvidia,cpu-pwr-off-time = <300>;
		nvidia,core-pwr-good-time = <641 3845>;
		nvidia,core-pwr-off-time = <61036>;
		nvidia,core-power-req-active-high;
		nvidia,sys-clock-req-active-high;
	};

	ahub@70080000 {
		i2s@70080400 {
			status = "okay";
		};
	};

	mmc@78000400 {
		cd-gpios = <&gpio TEGRA_GPIO(V, 2) GPIO_ACTIVE_LOW>;
		wp-gpios = <&gpio TEGRA_GPIO(Q, 4) GPIO_ACTIVE_HIGH>;
		bus-width = <4>;
		status = "okay";
	};

	mmc@78000600 {
		bus-width = <8>;
		status = "okay";
		non-removable;
	};

	usb@7d000000 {
		compatible = "nvidia,tegra114-udc";
		status = "okay";
		dr_mode = "peripheral";
	};

	usb-phy@7d000000 {
		status = "okay";
	};

	usb@7d008000 {
		status = "okay";
	};

	usb-phy@7d008000 {
		status = "okay";
		vbus-supply = <&usb3_vbus_reg>;
	};

	backlight: backlight {
		compatible = "pwm-backlight";

		enable-gpios = <&gpio TEGRA_GPIO(H, 2) GPIO_ACTIVE_HIGH>;
		power-supply = <&vdd_bl_reg>;
		pwms = <&pwm 1 1000000>;

		brightness-levels = <0 4 8 16 32 64 128 255>;
		default-brightness-level = <6>;
	};

	clk32k_in: clock-32k {
		compatible = "fixed-clock";
		clock-frequency = <32768>;
		#clock-cells = <0>;
	};

	gpio-keys {
		compatible = "gpio-keys";

		key-home {
			label = "Home";
			gpios = <&gpio TEGRA_GPIO(I, 5) GPIO_ACTIVE_LOW>;
			linux,code = <KEY_HOME>;
		};

		key-power {
			label = "Power";
			gpios = <&gpio TEGRA_GPIO(Q, 0) GPIO_ACTIVE_LOW>;
			linux,code = <KEY_POWER>;
			wakeup-source;
		};

		key-volume-down {
			label = "Volume Down";
			gpios = <&gpio TEGRA_GPIO(R, 1) GPIO_ACTIVE_LOW>;
			linux,code = <KEY_VOLUMEDOWN>;
		};

		key-volume-up {
			label = "Volume Up";
			gpios = <&gpio TEGRA_GPIO(R, 2) GPIO_ACTIVE_LOW>;
			linux,code = <KEY_VOLUMEUP>;
		};
	};

	vdd_ac_bat_reg: regulator-acbat {
		compatible = "regulator-fixed";
		regulator-name = "vdd_ac_bat";
		regulator-min-microvolt = <5000000>;
		regulator-max-microvolt = <5000000>;
		regulator-always-on;
	};

	dvdd_ts_reg: regulator-ts {
		compatible = "regulator-fixed";
		regulator-name = "dvdd_ts";
		regulator-min-microvolt = <1800000>;
		regulator-max-microvolt = <1800000>;
		enable-active-high;
		gpio = <&gpio TEGRA_GPIO(H, 5) GPIO_ACTIVE_HIGH>;
	};

	usb1_vbus_reg: regulator-usb1 {
		compatible = "regulator-fixed";
		regulator-name = "usb1_vbus";
		regulator-min-microvolt = <5000000>;
		regulator-max-microvolt = <5000000>;
		enable-active-high;
		gpio = <&gpio TEGRA_GPIO(N, 4) GPIO_ACTIVE_HIGH>;
		gpio-open-drain;
		vin-supply = <&tps65090_dcdc1_reg>;
	};

	usb3_vbus_reg: regulator-usb3 {
		compatible = "regulator-fixed";
		regulator-name = "usb2_vbus";
		regulator-min-microvolt = <5000000>;
		regulator-max-microvolt = <5000000>;
		enable-active-high;
		gpio = <&gpio TEGRA_GPIO(K, 6) GPIO_ACTIVE_HIGH>;
		gpio-open-drain;
		vin-supply = <&tps65090_dcdc1_reg>;
	};

	vdd_hdmi_reg: regulator-hdmi {
		compatible = "regulator-fixed";
		regulator-name = "vdd_hdmi_5v0";
		regulator-min-microvolt = <5000000>;
		regulator-max-microvolt = <5000000>;
		vin-supply = <&tps65090_dcdc1_reg>;
	};

	vdd_cam_1v8_reg: regulator-cam {
		compatible = "regulator-fixed";
		regulator-name = "vdd_cam_1v8_reg";
		regulator-min-microvolt = <1800000>;
		regulator-max-microvolt = <1800000>;
		enable-active-high;
		gpio = <&palmas_gpio 6 0>;
	};

	vdd_5v0_hdmi: regulator-hdmicon {
		compatible = "regulator-fixed";
		regulator-name = "VDD_5V0_HDMI_CON";
		regulator-min-microvolt = <5000000>;
		regulator-max-microvolt = <5000000>;
		gpio = <&gpio TEGRA_GPIO(K, 1) GPIO_ACTIVE_HIGH>;
		enable-active-high;
		vin-supply = <&tps65090_dcdc1_reg>;
	};

	sound {
		compatible = "nvidia,tegra-audio-rt5640-dalmore",
			     "nvidia,tegra-audio-rt5640";
		nvidia,model = "NVIDIA Tegra Dalmore";

		nvidia,audio-routing =
			"Headphones", "HPOR",
			"Headphones", "HPOL",
			"Speakers", "SPORP",
			"Speakers", "SPORN",
			"Speakers", "SPOLP",
			"Speakers", "SPOLN",
			"Mic Jack", "MICBIAS1",
			"IN2P", "Mic Jack";

		nvidia,i2s-controller = <&tegra_i2s1>;
		nvidia,audio-codec = <&rt5640>;

		nvidia,hp-det-gpios = <&gpio TEGRA_GPIO(R, 7) GPIO_ACTIVE_HIGH>;

		clocks = <&tegra_car TEGRA114_CLK_PLL_A>,
			 <&tegra_car TEGRA114_CLK_PLL_A_OUT0>,
			 <&tegra_pmc TEGRA_PMC_CLK_OUT_1>;
		clock-names = "pll_a", "pll_a_out0", "mclk";

		assigned-clocks = <&tegra_car TEGRA114_CLK_EXTERN1>,
				  <&tegra_pmc TEGRA_PMC_CLK_OUT_1>;

		assigned-clock-parents = <&tegra_car TEGRA114_CLK_PLL_A_OUT0>,
					 <&tegra_car TEGRA114_CLK_EXTERN1>;
	};
};
